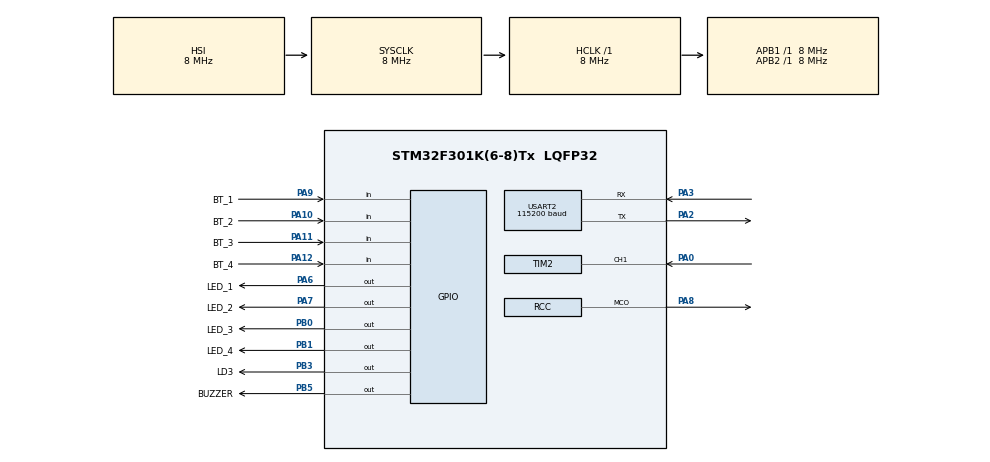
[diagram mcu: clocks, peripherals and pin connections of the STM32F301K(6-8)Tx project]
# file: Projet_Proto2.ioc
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Mcu.Family=STM32F3
Mcu.Name=STM32F301K(6-8)Tx
Mcu.Package=LQFP32
NVIC.PriorityGroup=NVIC_PRIORITYGROUP_4
NVIC.TIM2_IRQn=true\:0\:0\:false\:false\:true\:true\:true
PA0.Signal=S_TIM2_CH1_ETR
PA10.GPIO_Label=BT_2
PA10.Signal=GPIO_Input
PA11.GPIO_Label=BT_3
PA11.Signal=GPIO_Input
PA12.GPIO_Label=BT_4
PA12.Signal=GPIO_Input
PA2.Mode=Asynchronous
PA2.Signal=USART2_TX
PA3.Mode=Asynchronous
PA3.Signal=USART2_RX
PA6.GPIO_Label=LED_1
PA6.Signal=GPIO_Output
PA7.GPIO_Label=LED_2
PA7.Signal=GPIO_Output
PA8.Mode=Clock-out
PA8.Signal=RCC_MCO
PA9.GPIO_Label=BT_1
PA9.Signal=GPIO_Input
PB0.GPIO_Label=LED_3
PB0.Signal=GPIO_Output
PB1.GPIO_Label=LED_4
PB1.Signal=GPIO_Output
PB3.GPIO_Label=LD3
PB3.Signal=GPIO_Output
PB5.GPIO_Label=BUZZER
PB5.Signal=GPIO_Output
PF0-OSC_IN.Mode=HSE-External-Oscillator
PF0-OSC_IN.Signal=RCC_OSC_IN
PF1-OSC_OUT.Mode=HSE-External-Oscillator
PF1-OSC_OUT.Signal=RCC_OSC_OUT
ProjectManager.HeapSize=0x200
ProjectManager.StackSize=0x400
ProjectManager.TargetToolchain=STM32CubeIDE
RCC.AHBFreq_Value=8000000
RCC.APB1Freq_Value=8000000
RCC.APB2Freq_Value=8000000
RCC.CortexFreq_Value=8000000
RCC.HSE_VALUE=8000000
RCC.HSI_VALUE=8000000
RCC.SYSCLKFreq_VALUE=8000000
SH.S_TIM2_CH1_ETR.0=TIM2_CH1,Input_Capture1_from_TI1
TIM2.Channel-Input_Capture1_from_TI1=TIM_CHANNEL_1
USART2.BaudRate=115200
USART2.VirtualMode-Asynchronous=VM_ASYNC
VP_TIM2_VS_ClockSourceINT.Mode=Internal
board=custom

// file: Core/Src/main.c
/* USER CODE BEGIN Header */
/**
  ******************************************************************************
  * @file           : main.c
  * @brief          : Main program body
  ******************************************************************************
  * @attention
  *
  * Copyright (c) 2022 STMicroelectronics.
  * All rights reserved.
  *
  * This software is licensed under terms that can be found in the LICENSE file
  * in the root directory of this software component.
  * If no LICENSE file comes with this software, it is provided AS-IS.
  *
  ******************************************************************************
  */
/* USER CODE END Header */
#include "main.h"

/* USER CODE BEGIN Includes */
#include "stdlib.h"
#include "stdbool.h"
/* USER CODE END Includes */

/* USER CODE BEGIN PD */
#define IDLE   0
#define DONE   1
#define F_CLK  32000000UL

#define MAX_LEVEL 100
#define DEBUG 0

uint8_t rx_buffer[20] = {0};
enum LEDS_hex { LED1_hex = 0x0040U, LED2_hex = 0x0080U , LED3_hex = 0x0002U, LED4_hex = 0x0001U };
enum LEDS_dec { LED1_dec = 64, LED2_dec = 128 , LED3_dec = 1, LED4_dec = 2 };

// Denote the tone of the sound
#define TON1 400
#define TON2 300
#define TON3 200
#define TON4 100
//#define DEBUG 1
/* USER CODE END PD */

TIM_HandleTypeDef htim2;
TIM_HandleTypeDef htim16;

UART_HandleTypeDef huart2;

/* USER CODE BEGIN PV */
volatile uint8_t gu8_State = IDLE;
volatile uint8_t gu8_MSG[35] = {'\0'};
volatile uint32_t gu32_T1 = 0;
volatile uint32_t gu32_T2 = 0;
volatile uint32_t gu32_Ticks = 0;
volatile uint16_t gu16_TIM2_OVC = 0;
volatile uint32_t gu32_Freq = 0;
/* USER CODE END PV */

void SystemClock_Config(void);
static void MX_GPIO_Init(void);
static void MX_TIM2_Init(void);
static void MX_USART2_UART_Init(void);
/* USER CODE BEGIN PFP */
void UART_SendText(volatile char*);
void UART_SendNumber(uint32_t x);
void HAL_TIM_IC_CaptureCallback(TIM_HandleTypeDef *htim);
void start();
void right_sequence();
void wrong_sequence();
void generate_sequence(void);
void show_sequence();
void get_sequence();
void test_PIN();
void BEEP(uint16_t tone, uint16_t time);
/* USER CODE END PFP */

/* USER CODE BEGIN 0 */
int T1;
int T2;
int compteur=0;
int Frequency=0;

uint32_t IC_Value1 = 0;
uint32_t IC_Value2 = 0;
uint32_t Difference = 0;
//uint32_t Frequency = 0;
int test = 0;
uint8_t Is_First_Captured = 0;  // 0- not captured, 1- captured
char str_Freq[32];
int ALLUME_LED = 0;
int ALLUME_START = 1;
uint16_t timer_val = 0;
uint16_t timer_val_get = 0;
int level = 1;
int velocity = 250;
int sequence[MAX_LEVEL];
int your_sequence[MAX_LEVEL];

/* USER CODE END 0 */

int main(void)
{

  /* MCU Configuration--------------------------------------------------------*/

  /* Reset of all peripherals, Initializes the Flash interface and the Systick. */
  HAL_Init();

  /* Configure the system clock */
  SystemClock_Config();

  /* Initialize all configured peripherals */
  MX_GPIO_Init();
  MX_TIM2_Init();
  MX_USART2_UART_Init();
  /* USER CODE BEGIN 2 */
  HAL_TIM_Base_Start_IT(&htim2);
  HAL_TIM_IC_Start_IT(&htim2, TIM_CHANNEL_1);

  //timer_val = __HAL_TIM_GET_COUNTER(&htim16);
  timer_val_get = timer_val;
  /* USER CODE END 2 */

  /* Infinite loop */
  /* USER CODE BEGIN WHILE */
  while (1)
  {
//		HAL_GPIO_WritePin(GPIOB, LD3_Pin, 1);
//		HAL_Delay(500);
//		HAL_GPIO_WritePin(GPIOB, LD3_Pin, 0);
//		HAL_Delay(500);
	  if (level==1) {
	  	     generate_sequence();
	  }
	  show_sequence();
	  get_sequence();
	  //level++;
	  //wrong_sequence();
	  //HAL_Delay(1000);
  }
    /* USER CODE END WHILE */

}

void SystemClock_Config(void)
{
  RCC_OscInitTypeDef RCC_OscInitStruct = {0};
  RCC_ClkInitTypeDef RCC_ClkInitStruct = {0};
  RCC_PeriphCLKInitTypeDef PeriphClkInit = {0};

  /** Initializes the RCC Oscillators according to the specified parameters
  * in the RCC_OscInitTypeDef structure.
  */
  RCC_OscInitStruct.OscillatorType = RCC_OSCILLATORTYPE_HSI;
  RCC_OscInitStruct.HSIState = RCC_HSI_ON;
  RCC_OscInitStruct.HSICalibrationValue = RCC_HSICALIBRATION_DEFAULT;
  RCC_OscInitStruct.PLL.PLLState = RCC_PLL_NONE;
  if (HAL_RCC_OscConfig(&RCC_OscInitStruct) != HAL_OK)
  {
    Error_Handler();
  }
  /** Initializes the CPU, AHB and APB buses clocks
  */
  RCC_ClkInitStruct.ClockType = RCC_CLOCKTYPE_HCLK|RCC_CLOCKTYPE_SYSCLK
                              |RCC_CLOCKTYPE_PCLK1|RCC_CLOCKTYPE_PCLK2;
  RCC_ClkInitStruct.SYSCLKSource = RCC_SYSCLKSOURCE_HSI;
  RCC_ClkInitStruct.AHBCLKDivider = RCC_SYSCLK_DIV1;
  RCC_ClkInitStruct.APB1CLKDivider = RCC_HCLK_DIV1;
  RCC_ClkInitStruct.APB2CLKDivider = RCC_HCLK_DIV1;

  if (HAL_RCC_ClockConfig(&RCC_ClkInitStruct, FLASH_LATENCY_0) != HAL_OK)
  {
    Error_Handler();
  }
  PeriphClkInit.PeriphClockSelection = RCC_PERIPHCLK_TIM16;
  PeriphClkInit.Tim16ClockSelection = RCC_TIM16CLK_HCLK;
  if (HAL_RCCEx_PeriphCLKConfig(&PeriphClkInit) != HAL_OK)
  {
    Error_Handler();
  }
  HAL_RCC_MCOConfig(RCC_MCO, RCC_MCO1SOURCE_SYSCLK, RCC_MCODIV_1);
}

static void MX_TIM2_Init(void)
{

  TIM_ClockConfigTypeDef sClockSourceConfig = {0};
  TIM_MasterConfigTypeDef sMasterConfig = {0};
  TIM_IC_InitTypeDef sConfigIC = {0};

  htim2.Instance = TIM2;
  htim2.Init.Prescaler = 0;
  htim2.Init.CounterMode = TIM_COUNTERMODE_UP;
  htim2.Init.Period = 4294967295;
  htim2.Init.ClockDivision = TIM_CLOCKDIVISION_DIV1;
  htim2.Init.AutoReloadPreload = TIM_AUTORELOAD_PRELOAD_DISABLE;
  if (HAL_TIM_Base_Init(&htim2) != HAL_OK)
  {
    Error_Handler();
  }
  sClockSourceConfig.ClockSource = TIM_CLOCKSOURCE_INTERNAL;
  if (HAL_TIM_ConfigClockSource(&htim2, &sClockSourceConfig) != HAL_OK)
  {
    Error_Handler();
  }
  if (HAL_TIM_IC_Init(&htim2) != HAL_OK)
  {
    Error_Handler();
  }
  sMasterConfig.MasterOutputTrigger = TIM_TRGO_RESET;
  sMasterConfig.MasterSlaveMode = TIM_MASTERSLAVEMODE_DISABLE;
  if (HAL_TIMEx_MasterConfigSynchronization(&htim2, &sMasterConfig) != HAL_OK)
  {
    Error_Handler();
  }
  sConfigIC.ICPolarity = TIM_INPUTCHANNELPOLARITY_RISING;
  sConfigIC.ICSelection = TIM_ICSELECTION_DIRECTTI;
  sConfigIC.ICPrescaler = TIM_ICPSC_DIV1;
  sConfigIC.ICFilter = 0;
  if (HAL_TIM_IC_ConfigChannel(&htim2, &sConfigIC, TIM_CHANNEL_1) != HAL_OK)
  {
    Error_Handler();
  }

}

static void MX_USART2_UART_Init(void)
{

  huart2.Instance = USART2;
  huart2.Init.BaudRate = 115200;
  huart2.Init.WordLength = UART_WORDLENGTH_8B;
  huart2.Init.StopBits = UART_STOPBITS_1;
  huart2.Init.Parity = UART_PARITY_NONE;
  huart2.Init.Mode = UART_MODE_TX_RX;
  huart2.Init.HwFlowCtl = UART_HWCONTROL_NONE;
  huart2.Init.OverSampling = UART_OVERSAMPLING_16;
  huart2.Init.OneBitSampling = UART_ONE_BIT_SAMPLE_DISABLE;
  huart2.AdvancedInit.AdvFeatureInit = UART_ADVFEATURE_NO_INIT;
  if (HAL_UART_Init(&huart2) != HAL_OK)
  {
    Error_Handler();
  }

}

static void MX_GPIO_Init(void)
{
  GPIO_InitTypeDef GPIO_InitStruct = {0};

  /* GPIO Ports Clock Enable */
  __HAL_RCC_GPIOF_CLK_ENABLE();
  __HAL_RCC_GPIOA_CLK_ENABLE();
  __HAL_RCC_GPIOB_CLK_ENABLE();

  /*Configure GPIO pin Output Level */
  HAL_GPIO_WritePin(GPIOA, LED_1_Pin|LED_2_Pin, GPIO_PIN_RESET);

  /*Configure GPIO pin Output Level */
  HAL_GPIO_WritePin(GPIOB, LED_3_Pin|LED_4_Pin|LD3_Pin|BUZZER_Pin, GPIO_PIN_RESET);

  /*Configure GPIO pins : LED_1_Pin LED_2_Pin */
  GPIO_InitStruct.Pin = LED_1_Pin|LED_2_Pin;
  GPIO_InitStruct.Mode = GPIO_MODE_OUTPUT_PP;
  GPIO_InitStruct.Pull = GPIO_NOPULL;
  GPIO_InitStruct.Speed = GPIO_SPEED_FREQ_LOW;
  HAL_GPIO_Init(GPIOA, &GPIO_InitStruct);

  /*Configure GPIO pins : LED_3_Pin LED_4_Pin LD3_Pin BUZZER_Pin */
  GPIO_InitStruct.Pin = LED_3_Pin|LED_4_Pin|LD3_Pin|BUZZER_Pin;
  GPIO_InitStruct.Mode = GPIO_MODE_OUTPUT_PP;
  GPIO_InitStruct.Pull = GPIO_NOPULL;
  GPIO_InitStruct.Speed = GPIO_SPEED_FREQ_LOW;
  HAL_GPIO_Init(GPIOB, &GPIO_InitStruct);

  /*Configure GPIO pin : PA8 */
  GPIO_InitStruct.Pin = GPIO_PIN_8;
  GPIO_InitStruct.Mode = GPIO_MODE_AF_PP;
  GPIO_InitStruct.Pull = GPIO_NOPULL;
  GPIO_InitStruct.Speed = GPIO_SPEED_FREQ_LOW;
  GPIO_InitStruct.Alternate = GPIO_AF0_MCO;
  HAL_GPIO_Init(GPIOA, &GPIO_InitStruct);

  /*Configure GPIO pins : BT_1_Pin BT_2_Pin BT_3_Pin BT_4_Pin */
  GPIO_InitStruct.Pin = BT_1_Pin|BT_2_Pin|BT_3_Pin|BT_4_Pin;
  GPIO_InitStruct.Mode = GPIO_MODE_INPUT;
  GPIO_InitStruct.Pull = GPIO_NOPULL;
  HAL_GPIO_Init(GPIOA, &GPIO_InitStruct);

}

/* USER CODE BEGIN 4 */

void UART_SendText(volatile char* s)
{
	uint16_t i = 0;
	uint16_t size = 0;
	while(s[i])
	{
		size++;
		i++;
	}
	size++; // '\0'
	HAL_UART_Transmit(&huart2, (uint8_t *)s, size, 300);
}

void UART_SendNumber(uint32_t x)
{
	char temp[100];
	sprintf(temp, "%d", x);
	UART_SendText(temp);
}

void start()
{
	  uint16_t start_rand=0;

	  while(ALLUME_START == 1)
	  {
		  HAL_GPIO_TogglePin(LED_1_GPIO_Port, LED_1_Pin);
		  HAL_Delay(25);
		  HAL_GPIO_TogglePin(LED_2_GPIO_Port, LED_2_Pin);
		  HAL_Delay(25);
		  HAL_GPIO_TogglePin(LED_3_GPIO_Port, LED_3_Pin);
		  HAL_Delay(25);
		  HAL_GPIO_TogglePin(LED_4_GPIO_Port, LED_4_Pin);
		  HAL_Delay(25);
		  start_rand++;
		  if(HAL_GPIO_ReadPin(BT_1_GPIO_Port,BT_1_Pin) == GPIO_PIN_SET){
			  ALLUME_START = 0;
		  }
	  }
	  BEEP(100,1);
	  HAL_GPIO_WritePin(LED_3_GPIO_Port, LED_3_Pin, GPIO_PIN_RESET);
	  HAL_GPIO_WritePin(LED_2_GPIO_Port, LED_2_Pin, GPIO_PIN_RESET);
	  HAL_GPIO_WritePin(LED_4_GPIO_Port, LED_4_Pin, GPIO_PIN_RESET);
	  HAL_GPIO_WritePin(LED_1_GPIO_Port, LED_1_Pin, GPIO_PIN_RESET);
	  srand(start_rand);
	  ALLUME_LED = 0;
	  HAL_GPIO_WritePin(LD3_GPIO_Port, LD3_Pin, GPIO_PIN_RESET);

}

void right_sequence()
{

	HAL_GPIO_WritePin(LED_3_GPIO_Port, LED_3_Pin, GPIO_PIN_SET);
	HAL_GPIO_WritePin(LED_2_GPIO_Port, LED_2_Pin, GPIO_PIN_SET);
	HAL_GPIO_WritePin(LED_4_GPIO_Port, LED_4_Pin, GPIO_PIN_SET);
	HAL_GPIO_WritePin(LED_1_GPIO_Port, LED_1_Pin, GPIO_PIN_SET);
	BEEP(300,1);
	HAL_Delay(5);
	HAL_GPIO_WritePin(LED_3_GPIO_Port, LED_3_Pin, GPIO_PIN_RESET);
	HAL_GPIO_WritePin(LED_2_GPIO_Port, LED_2_Pin, GPIO_PIN_RESET);
	HAL_GPIO_WritePin(LED_4_GPIO_Port, LED_4_Pin, GPIO_PIN_RESET);
	HAL_GPIO_WritePin(LED_1_GPIO_Port, LED_1_Pin, GPIO_PIN_RESET);
	if (level<MAX_LEVEL) {
	  level++;
	}
	velocity -=5;
	HAL_Delay(25);
}

void wrong_sequence()
{
	int i;
	for(i = 0; i<3; i++)
	{

		HAL_GPIO_WritePin(LED_3_GPIO_Port, LED_3_Pin, GPIO_PIN_SET);
		HAL_GPIO_WritePin(LED_2_GPIO_Port, LED_2_Pin, GPIO_PIN_SET);
		HAL_GPIO_WritePin(LED_4_GPIO_Port, LED_4_Pin, GPIO_PIN_SET);
		HAL_GPIO_WritePin(LED_1_GPIO_Port, LED_1_Pin, GPIO_PIN_SET);
		BEEP(200,1);
		//HAL_Delay(10);
		HAL_GPIO_WritePin(LED_3_GPIO_Port, LED_3_Pin, GPIO_PIN_RESET);
		HAL_GPIO_WritePin(LED_2_GPIO_Port, LED_2_Pin, GPIO_PIN_RESET);
		HAL_GPIO_WritePin(LED_4_GPIO_Port, LED_4_Pin, GPIO_PIN_RESET);
		HAL_GPIO_WritePin(LED_1_GPIO_Port, LED_1_Pin, GPIO_PIN_RESET);
		HAL_Delay(10);
	}
	level = 1;
	velocity = 250;
}

void generate_sequence(void)
{
	start();
	 int i;
	 int random = 0;
	 for (i = 0; i < MAX_LEVEL; i++) {
		random = rand() % 4;
		switch(random)
		{
			case 0:
				sequence[i]=LED1_hex;
				break;
			case 1:
				sequence[i]=LED2_hex;
				break;
			case 2:
				sequence[i]=LED3_hex;
				break;
			case 3:
				sequence[i]=LED4_hex;
				break;
			default:
				sequence[i]=LED1_hex;
		}

	 }
//	 for (i = 0; i <5; i++) {
//		 sequence[i] = LED1_hex;
//	 }
//	 sequence[5] = LED2_hex;
//	 level++;
}

void show_sequence()
{
	 int i;
	 for(i=0; i < level; i++)
	 //for(i=0; i < 6; i++)
	 {
		 switch(sequence[i])
			{
				case LED1_hex: //O
					HAL_GPIO_WritePin(LED_1_GPIO_Port, LED_1_Pin, GPIO_PIN_SET);
					BEEP(100,1);
					HAL_Delay(velocity);
					HAL_GPIO_WritePin(LED_1_GPIO_Port, LED_1_Pin, GPIO_PIN_RESET);
					HAL_Delay(50);
					break;
				case LED2_hex: //1
					HAL_GPIO_WritePin(LED_2_GPIO_Port, LED_2_Pin, GPIO_PIN_SET);
					BEEP(100,1);
					HAL_Delay(velocity);
					HAL_GPIO_WritePin(LED_2_GPIO_Port, LED_2_Pin, GPIO_PIN_RESET);
					HAL_Delay(50);
					break;
				case LED3_hex: //2
					HAL_GPIO_WritePin(LED_3_GPIO_Port, LED_3_Pin, GPIO_PIN_SET);
					BEEP(100,1);
					HAL_Delay(velocity);
					HAL_GPIO_WritePin(LED_3_GPIO_Port, LED_3_Pin, GPIO_PIN_RESET);
					HAL_Delay(50);
					break;
				case LED4_hex: //3
					HAL_GPIO_WritePin(LED_4_GPIO_Port, LED_4_Pin, GPIO_PIN_SET);
					BEEP(100,1);
					HAL_Delay(velocity);
					HAL_GPIO_WritePin(LED_4_GPIO_Port, LED_4_Pin, GPIO_PIN_RESET);
					HAL_Delay(50);
					break;
				default:
					wrong_sequence();
			}
	 }
}

void get_sequence()
{
	bool flag;
	int i;
	int temp_freq = Frequency;
	for(i=0; i<level;i++)
	{
			flag = false;
			while(flag == false)
			{HAL_GPIO_WritePin(LD3_GPIO_Port,LD3_Pin,GPIO_PIN_RESET);

					if(HAL_GPIO_ReadPin(BT_1_GPIO_Port,BT_1_Pin) == GPIO_PIN_SET)
					{
						HAL_GPIO_WritePin(LED_1_GPIO_Port, LED_1_Pin, GPIO_PIN_SET);
						BEEP(100,1);
						your_sequence[i] = LED1_hex;
						flag=true;
						HAL_Delay(25);
						HAL_GPIO_WritePin(LD3_GPIO_Port, LD3_Pin, GPIO_PIN_RESET);
						if (your_sequence[i] != sequence[i])
						{
							wrong_sequence();
							return;
						}
						HAL_GPIO_WritePin(LED_1_GPIO_Port, LED_1_Pin, GPIO_PIN_RESET);

					}
					if(HAL_GPIO_ReadPin(BT_2_GPIO_Port,BT_2_Pin) == GPIO_PIN_SET)
					{
						HAL_GPIO_WritePin(LED_2_GPIO_Port, LED_2_Pin, GPIO_PIN_SET);
						BEEP(100,1);
						your_sequence[i] = LED2_hex;
						flag=true;
						HAL_Delay(25);
						HAL_GPIO_WritePin(LD3_GPIO_Port, LD3_Pin, GPIO_PIN_RESET);
						if (your_sequence[i] != sequence[i])
						{
							wrong_sequence();
							return;
						}
						HAL_GPIO_WritePin(LED_2_GPIO_Port, LED_2_Pin, GPIO_PIN_RESET);

					}
					if(HAL_GPIO_ReadPin(BT_3_GPIO_Port,BT_3_Pin) == GPIO_PIN_SET)
					{
						HAL_GPIO_WritePin(LED_3_GPIO_Port, LED_3_Pin, GPIO_PIN_SET);
						BEEP(100,1);
						your_sequence[i] = LED3_hex;
						flag=true;
						HAL_Delay(25);
						HAL_GPIO_WritePin(LD3_GPIO_Port, LD3_Pin, GPIO_PIN_RESET);
						if (your_sequence[i] != sequence[i])
						{
							wrong_sequence();
							return;
						}
						HAL_GPIO_WritePin(LED_3_GPIO_Port, LED_3_Pin, GPIO_PIN_RESET);

					}
					if(HAL_GPIO_ReadPin(BT_4_GPIO_Port,BT_4_Pin) == GPIO_PIN_SET)
					{
						HAL_GPIO_WritePin(LED_4_GPIO_Port, LED_4_Pin, GPIO_PIN_SET);
						BEEP(100,1);
						your_sequence[i] = LED4_hex;
						flag=true;
						HAL_Delay(25);
						HAL_GPIO_WritePin(LD3_GPIO_Port, LD3_Pin, GPIO_PIN_RESET);
						if (your_sequence[i] != sequence[i])
						{
							wrong_sequence();
							return;
						}
						HAL_GPIO_WritePin(LED_4_GPIO_Port, LED_4_Pin, GPIO_PIN_RESET);

					}
//					if(Frequency < 10000 && Frequency != temp_freq )
//					//if(Frequency != temp_freq )
//					{
//						Frequency = 0;
//						temp_freq = Frequency;
//						BEEP(500,1);
//						HAL_GPIO_WritePin(LD3_GPIO_Port, LD3_Pin, GPIO_PIN_SET);
//						flag=true;
//						HAL_Delay(200);
//						HAL_GPIO_WritePin(LD3_GPIO_Port, LD3_Pin, GPIO_PIN_RESET);
//						ALLUME_START = 1;
//						wrong_sequence();
//						return;
//					}

			//while (__HAL_TIM_GET_COUNTER(&htim16) - timer_val_get <= 160);
			//timer_val_get = __HAL_TIM_GET_COUNTER(&htim16);

		}

	}
	 right_sequence();
}

void BEEP( uint16_t tone, uint16_t time) { // The function takes the value of the sound tone and the duration of the sound
 uint16_t j;
 for (j =  0 ; j < time; ++ j) {
	 BUZZER_GPIO_Port->BSRR = BUZZER_Pin;
	 HAL_Delay(tone);
	 BUZZER_GPIO_Port->BRR = BUZZER_Pin;
	 //HAL_Delay(tone);
 }
}

void HAL_TIM_IC_CaptureCallback(TIM_HandleTypeDef* htim)
{
    if(gu8_State == IDLE)
    {
        gu32_T1 = TIM2->CCR1;
        gu16_TIM2_OVC = 0;
        gu8_State = DONE;
    }
    else if(gu8_State == DONE)
    {
        gu32_T2 = TIM2->CCR1;
        gu32_Ticks = (gu32_T2 + (gu16_TIM2_OVC * 4294967296)) - gu32_T1;
        gu32_Freq = (uint32_t)(F_CLK/gu32_Ticks);
        if(gu32_Freq != 0)
        {
          //sprintf(gu8_MSG, "Frequency = %lu Hz\n\r", gu32_Freq);
          HAL_UART_Transmit(&huart2, gu8_MSG, sizeof(gu8_MSG), 100);
//          if(gu32_Freq>30000)
//          {
//        	  ALLUME_START=0;
//          }
        }
        gu8_State = IDLE;
    }
}

void HAL_TIM_PeriodElapsedCallback(TIM_HandleTypeDef* htim)
{
    gu16_TIM2_OVC++;
}

/*void HAL_TIM_IC_CaptureCallback (TIM_HandleTypeDef *htim)
{

	if(htim->Channel == HAL_TIM_ACTIVE_CHANNEL_1)
	{
		if (compteur==0)
		{
			T1 = HAL_TIM_ReadCapturedValue(&htim2, TIM_CHANNEL_1);
			compteur++;
		}
		else
		{
			T2 = HAL_TIM_ReadCapturedValue(&htim2, TIM_CHANNEL_1);
			compteur=0;
			HAL_TIM_IC_Init(&htim2);
		}
		Frequency=1/((T2-T1)*3.125E-8);
}
}
*/
/* USER CODE END 4 */

void Error_Handler(void)
{
  __disable_irq();
  while (1)
  {
  }
}
